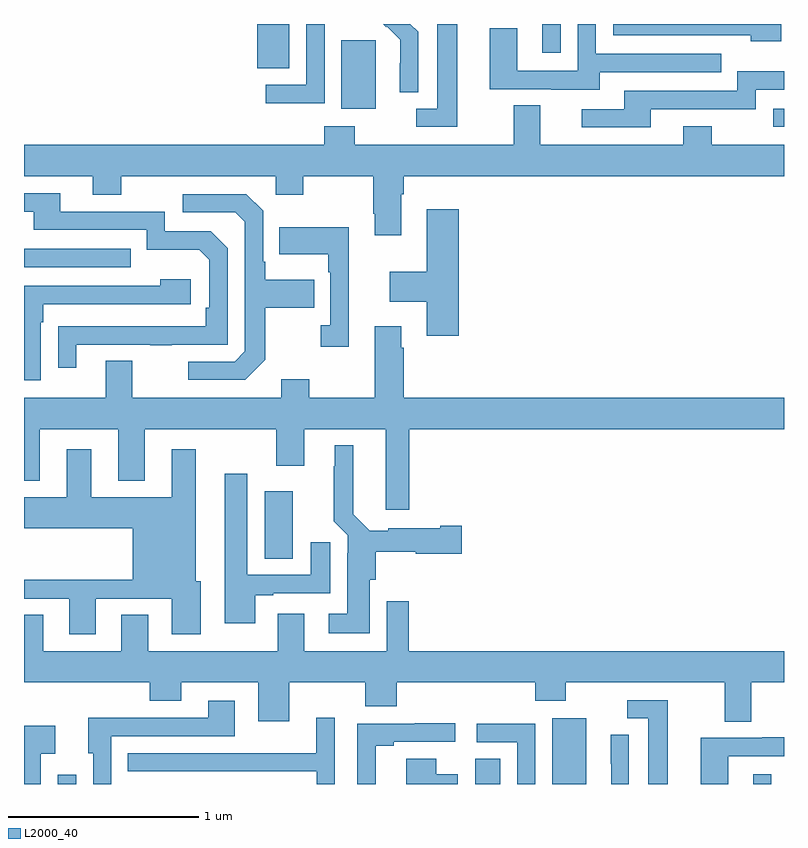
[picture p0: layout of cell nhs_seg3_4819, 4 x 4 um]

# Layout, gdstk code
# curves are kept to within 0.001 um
import gdstk
lib = gdstk.Library(unit=1e-6, precision=1e-09)
def R(c, l, rs):  # rectangles x0, y0, x1, y1
    for r in rs: c.add(gdstk.rectangle(r[:2], r[2:], *l))
def P(c, l, *ps):  # polygons
    for p in ps: c.add(gdstk.Polygon(p, *l))
L2000_40 = (2000, 40)

nhs_seg3_4819 = lib.new_cell('nhs_seg3_4819')
R(nhs_seg3_4819, L2000_40, [(371.178,680.4,371.274,680.449), (373.376,680.4,373.507,680.534), (373.781,680.4,373.96,680.746), (374.837,680.4,374.934,680.452), (372.266,681.586,372.415,681.94), (371,683.121,371.561,683.217), (374.943,683.859,375,683.955), (372.671,683.954,372.85,684.315), (372.227,684.166,372.397,684.4), (373.727,684.249,373.824,684.4)])
P(nhs_seg3_4819, L2000_40, [(374.986,684.4),(374.1,684.4),(374.1,684.342),(374.825,684.342),(374.825,684.308),(374.986,684.308)],
  [(374.029,684.147),(374.669,684.147),(374.669,684.243),(374.01,684.243),(374.01,684.4),(373.914,684.4),(373.914,684.153),(373.596,684.153),(373.596,684.377),(373.451,684.377),(373.451,684.057),(373.775,684.057),(373.775,684.053),(374.029,684.053)],
  [(373.279,684.4),(373.175,684.4),(373.175,683.955),(373.065,683.955),(373.065,683.859),(373.279,683.859)],
  [(372.582,684.4),(372.486,684.4),(372.486,684.081),(372.273,684.081),(372.273,683.983),(372.582,683.983)],
  [(373.074,684.358),(373.032,684.4),(372.89,684.4),(372.906,684.384),(372.909,684.387),(372.98,684.317),(372.98,684.194),(372.978,684.194),(372.978,684.04),(373.074,684.04)],
  [(374.299,683.952),(374.85,683.952),(374.85,684.054),(375,684.054),(375,684.151),(374.754,684.151),(374.754,684.048),(374.159,684.048),(374.159,683.952),(373.935,683.952),(373.935,683.856),(374.299,683.856)],
  [(372.985,683.504),(372.998,683.504),(372.998,683.6),(375,683.6),(375,683.764),(374.619,683.764),(374.619,683.863),(374.471,683.863),(374.471,683.764),(373.717,683.764),(373.717,683.972),(373.577,683.972),(373.577,683.764),(372.741,683.764),(372.741,683.863),(372.581,683.863),(372.581,683.764),(371,683.764),(371,683.6),(371.363,683.6),(371.363,683.501),(371.511,683.501),(371.511,683.6),(372.324,683.6),(372.324,683.501),(372.471,683.501),(372.471,683.6),(372.838,683.6),(372.838,683.401),(372.845,683.401),(372.845,683.289),(372.985,683.289)],
  [(371.275,682.713),(371.665,682.713),(371.665,682.708),(371.777,682.708),(371.777,682.713),(372.072,682.713),(372.072,683.22),(371.982,683.31),(371.742,683.31),(371.742,683.412),(371.191,683.412),(371.191,683.508),(371,683.508),(371,683.412),(371.051,683.412),(371.051,683.316),(371.646,683.316),(371.646,683.213),(371.923,683.213),(371.976,683.16),(371.976,682.906),(371.956,682.906),(371.956,682.809),(371.179,682.808),(371.179,682.59),(371.275,682.59)],
  [(372.271,682.633),(372.271,682.906),(372.527,682.906),(372.527,683.053),(372.271,683.053),(372.271,683.149),(372.258,683.149),(372.258,683.418),(372.171,683.505),(371.835,683.505),(371.835,683.409),(372.111,683.409),(372.162,683.358),(372.162,682.677),(372.108,682.623),(371.865,682.623),(371.865,682.527),(372.165,682.527)],
  [(373.289,683.425),(373.121,683.425),(373.121,683.095),(372.924,683.095),(372.924,682.937),(373.121,682.937),(373.121,682.758),(373.289,682.758)],
  [(372.71,683.329),(372.343,683.329),(372.343,683.189),(372.6,683.189),(372.6,683.093),(372.612,683.093),(372.612,682.814),(372.561,682.814),(372.561,682.701),(372.71,682.701)],
  [(371.088,682.829),(371.101,682.829),(371.101,682.926),(371.878,682.926),(371.878,683.056),(371.717,683.056),(371.717,683.022),(371,683.022),(371,682.524),(371.088,682.524)],
  [(373.028,682.268),(375,682.268),(375,682.432),(372.998,682.432),(372.998,682.697),(372.985,682.697),(372.985,682.81),(372.845,682.81),(372.845,682.432),(372.501,682.432),(372.501,682.531),(372.353,682.531),(372.353,682.432),(371.569,682.432),(371.569,682.627),(371.429,682.627),(371.429,682.432),(371,682.432),(371,681.995),(371.083,681.995),(371.083,682.268),(371.495,682.268),(371.495,681.995),(371.635,681.995),(371.635,682.268),(372.328,682.268),(372.328,682.074),(372.475,682.074),(372.475,682.268),(372.905,682.268),(372.905,681.843),(373.028,681.843)],
  [(372.82,681.474),(372.851,681.474),(372.851,681.623),(373.062,681.623),(373.062,681.611),(373.303,681.611),(373.303,681.758),(373.19,681.758),(373.19,681.745),(372.918,681.745),(372.918,681.733),(372.819,681.733),(372.733,681.82),(372.733,682.183),(372.635,682.183),(372.635,682.073),(372.631,682.073),(372.631,681.782),(372.705,681.708),(372.705,681.614),(372.701,681.614),(372.701,681.295),(372.603,681.295),(372.603,681.194),(372.82,681.194)],
  [(371.377,681.375),(371.777,681.375),(371.777,681.189),(371.929,681.189),(371.929,681.468),(371.905,681.468),(371.905,682.162),(371.777,682.162),(371.777,681.91),(371.353,681.91),(371.353,682.162),(371.225,682.162),(371.225,681.91),(371,681.91),(371,681.746),(371.573,681.746),(371.573,681.476),(371,681.476),(371,681.375),(371.237,681.375),(371.237,681.189),(371.377,681.189)],
  [(372.217,681.393),(372.313,681.393),(372.313,681.405),(372.613,681.405),(372.613,681.673),(372.509,681.673),(372.509,681.501),(372.175,681.501),(372.175,682.033),(372.056,682.033),(372.056,681.246),(372.217,681.246)],
  [(374.827,680.936),(375,680.936),(375,681.1),(373.025,681.1),(373.025,681.361),(372.909,681.361),(372.909,681.1),(372.475,681.1),(372.475,681.295),(372.335,681.295),(372.335,681.1),(371.653,681.1),(371.653,681.29),(371.513,681.29),(371.513,681.1),(371.101,681.1),(371.101,681.29),(371,681.29),(371,680.936),(371.663,680.936),(371.663,680.837),(371.827,680.837),(371.827,680.936),(372.233,680.936),(372.233,680.73),(372.397,680.73),(372.397,680.936),(372.797,680.936),(372.797,680.808),(372.961,680.808),(372.961,680.936),(373.691,680.936),(373.691,680.837),(373.851,680.837),(373.851,680.936),(374.687,680.936),(374.687,680.728),(374.827,680.728)],
  [(374.389,680.841),(374.175,680.841),(374.175,680.745),(374.285,680.745),(374.285,680.4),(374.389,680.4)],
  [(371.46,680.652),(372.109,680.652),(372.109,680.839),(371.969,680.839),(371.969,680.748),(371.557,680.748),(371.557,680.75),(371.339,680.75),(371.339,680.562),(371.364,680.562),(371.364,680.4),(371.46,680.4)],
  [(372.636,680.749),(372.539,680.749),(372.539,680.563),(372.205,680.563),(372.205,680.562),(371.545,680.562),(371.545,680.466),(372.54,680.466),(372.54,680.4),(372.636,680.4)],
  [(372.85,680.602),(372.946,680.602),(372.946,680.622),(373.27,680.622),(373.27,680.72),(373.057,680.72),(373.057,680.718),(372.753,680.718),(372.753,680.4),(372.85,680.4)],
  [(373.692,680.718),(373.383,680.718),(373.383,680.619),(373.596,680.619),(373.596,680.4),(373.692,680.4)],
  [(371.088,680.558),(371.164,680.558),(371.164,680.707),(371,680.707),(371,680.4),(371.088,680.4)],
  [(374.184,680.66),(374.088,680.66),(374.088,680.506),(374.09,680.506),(374.09,680.4),(374.184,680.4)],
  [(374.706,680.547),(375,680.547),(375,680.647),(374.885,680.647),(374.885,680.643),(374.561,680.643),(374.561,680.4),(374.706,680.4)],
  [(373.282,680.452),(373.171,680.452),(373.171,680.533),(373.013,680.533),(373.013,680.4),(373.282,680.4)])

lib.write_gds('nhs_seg3_4819.gds')
